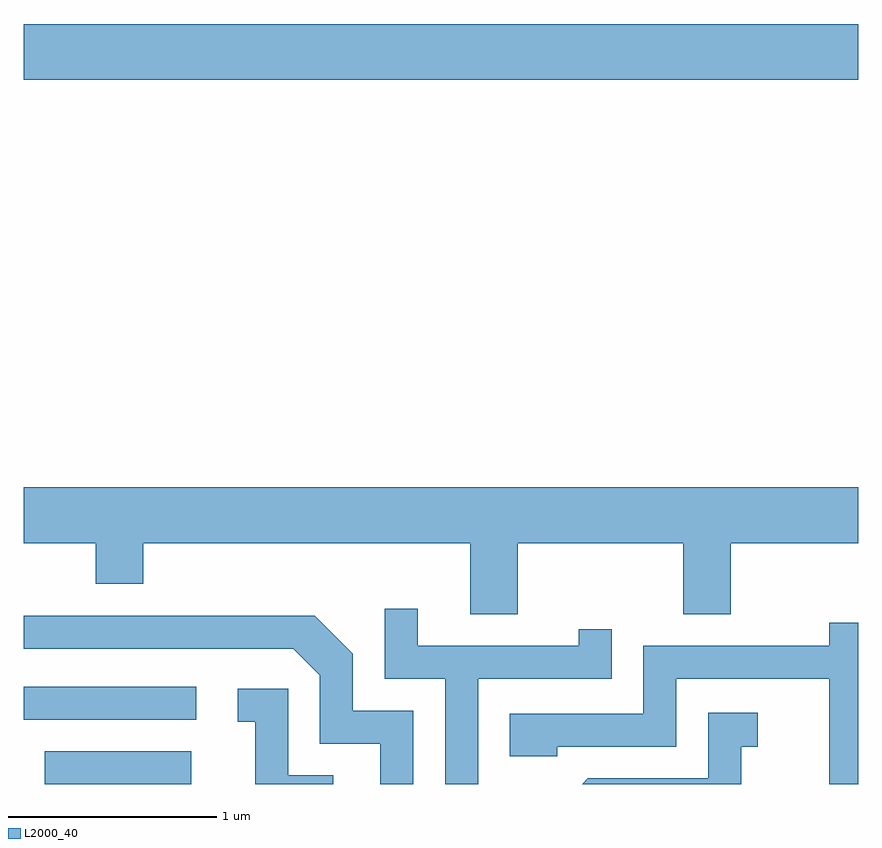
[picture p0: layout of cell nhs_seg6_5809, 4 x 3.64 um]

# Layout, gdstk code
import gdstk
lib = gdstk.Library(unit=1e-6, precision=1e-09)
def R(c, l, rs):  # rectangles x0, y0, x1, y1
    for r in rs: c.add(gdstk.rectangle(r[:2], r[2:], *l))
def P(c, l, *ps):  # polygons
    for p in ps: c.add(gdstk.Polygon(p, *l))
L2000_40 = (2000, 40)

nhs_seg6_5809 = lib.new_cell('nhs_seg6_5809')
R(nhs_seg6_5809, L2000_40, [(361.713,1602.162,362.414,1602.319), (361.611,1602.471,362.438,1602.629), (361.611,1605.536,365.611,1605.804)])
P(nhs_seg6_5809, L2000_40, [(363.979,1603.316),(364.771,1603.316),(364.771,1602.976),(364.999,1602.976),(364.999,1603.316),(365.611,1603.316),(365.611,1603.584),(361.611,1603.584),(361.611,1603.316),(361.956,1603.316),(361.956,1603.121),(362.184,1603.121),(362.184,1603.316),(363.751,1603.316),(363.751,1602.976),(363.979,1602.976)],
  [(363.789,1602.666),(364.429,1602.666),(364.429,1602.903),(364.271,1602.903),(364.271,1602.824),(363.499,1602.824),(363.499,1603.003),(363.341,1603.003),(363.341,1602.666),(363.631,1602.666),(363.631,1602.162),(363.789,1602.162)],
  [(363.479,1602.514),(363.189,1602.514),(363.189,1602.787),(363.007,1602.969),(361.611,1602.969),(361.611,1602.811),(362.904,1602.811),(363.031,1602.684),(363.031,1602.356),(363.321,1602.356),(363.321,1602.162),(363.479,1602.162)],
  [(365.611,1602.934),(365.471,1602.934),(365.471,1602.824),(364.581,1602.824),(364.581,1602.499),(363.941,1602.499),(363.941,1602.296),(364.169,1602.296),(364.169,1602.341),(364.739,1602.341),(364.739,1602.666),(365.471,1602.666),(365.471,1602.162),(365.611,1602.162)],
  [(363.094,1602.204),(362.879,1602.204),(362.879,1602.619),(362.638,1602.619),(362.638,1602.461),(362.721,1602.461),(362.721,1602.162),(363.094,1602.162)],
  [(365.049,1602.341),(365.128,1602.341),(365.128,1602.504),(364.891,1602.504),(364.891,1602.189),(364.314,1602.189),(364.287,1602.162),(365.049,1602.162)])

lib.write_gds('nhs_seg6_5809.gds')
